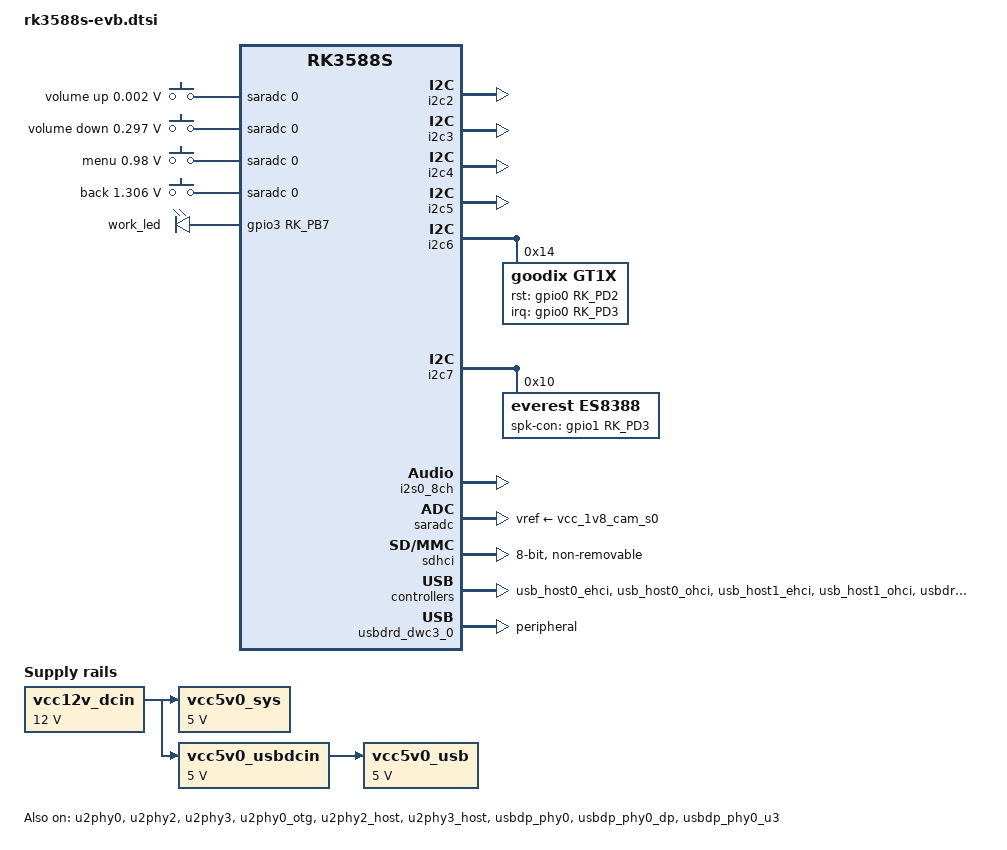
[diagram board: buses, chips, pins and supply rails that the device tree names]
// SPDX-License-Identifier: (GPL-2.0+ OR MIT)
/*
 * Copyright (c) 2021 Rockchip Electronics Co., Ltd.
 *
 */

#include <dt-bindings/gpio/gpio.h>
#include <dt-bindings/pwm/pwm.h>
#include <dt-bindings/pinctrl/rockchip.h>
#include <dt-bindings/input/rk-input.h>
#include <dt-bindings/display/drm_mipi_dsi.h>
#include <dt-bindings/sensor-dev.h>

/ {
	adc_keys: adc-keys {
		compatible = "adc-keys";
		io-channels = <&saradc 0>;
		io-channel-names = "buttons";
		keyup-threshold-microvolt = <1800000>;
		poll-interval = <100>;

		vol-up-key {
			label = "volume up";
			linux,code = <KEY_VOLUMEUP>;
			press-threshold-microvolt = <1750>;
		};

		vol-down-key {
			label = "volume down";
			linux,code = <KEY_VOLUMEDOWN>;
			press-threshold-microvolt = <297500>;
		};

		menu-key {
			label = "menu";
			linux,code = <KEY_MENU>;
			press-threshold-microvolt = <980000>;
		};

		back-key {
			label = "back";
			linux,code = <KEY_BACK>;
			press-threshold-microvolt = <1305500>;
		};
	};

	leds: leds {
		compatible = "gpio-leds";
		work_led: work {
			gpios = <&gpio3 RK_PB7 GPIO_ACTIVE_HIGH>;
			linux,default-trigger = "heartbeat";
		};
	};

	test-power {
		status = "okay";
	};

	rk_headset {
		status = "disabled";
		compatible = "rockchip_headset";
		headset_gpio = <&gpio1 RK_PD5 GPIO_ACTIVE_LOW>;
		pinctrl-names = "default";
		pinctrl-0 = <&hp_det>;
		io-channels = <&saradc 3>;
	};

	es8388_sound: es8388-sound {
		status = "okay";
		simple-audio-card,format = "i2s";
		simple-audio-card,name = "rockchip,es8388-codec";
		simple-audio-card,dai-link@0 {
			format = "i2s";
			cpu {
				sound-dai = <&i2s0_8ch>;
			};
			codec {
				sound-dai = <&es8388>;
			};
		};
	};

	vcc12v_dcin: vcc12v-dcin {
		compatible = "regulator-fixed";
		regulator-name = "vcc12v_dcin";
		regulator-always-on;
		regulator-boot-on;
		regulator-min-microvolt = <12000000>;
		regulator-max-microvolt = <12000000>;
	};

	vcc5v0_sys: vcc5v0-sys {
		compatible = "regulator-fixed";
		regulator-name = "vcc5v0_sys";
		regulator-always-on;
		regulator-boot-on;
		regulator-min-microvolt = <5000000>;
		regulator-max-microvolt = <5000000>;
		vin-supply = <&vcc12v_dcin>;
	};

	vcc5v0_usbdcin: vcc5v0-usbdcin {
		compatible = "regulator-fixed";
		regulator-name = "vcc5v0_usbdcin";
		regulator-always-on;
		regulator-boot-on;
		regulator-min-microvolt = <5000000>;
		regulator-max-microvolt = <5000000>;
		vin-supply = <&vcc12v_dcin>;
	};

	vcc5v0_usb: vcc5v0-usb {
		compatible = "regulator-fixed";
		regulator-name = "vcc5v0_usb";
		regulator-always-on;
		regulator-boot-on;
		regulator-min-microvolt = <5000000>;
		regulator-max-microvolt = <5000000>;
		vin-supply = <&vcc5v0_usbdcin>;
	};
};

&i2c2 {
	status = "okay";
};

&i2c3 {
	status = "okay";
};

&i2c4 {
	status = "okay";
	pinctrl-names = "default";
	pinctrl-0 = <&i2c4m3_xfer>;
};

&i2c5 {
	status = "okay";
};

&i2c6 {
	status = "okay";
	gt1x: gt1x@14 {
		compatible = "goodix,gt1x";
		reg = <0x14>;
		pinctrl-names = "default";
		pinctrl-0 = <&touch_gpio>;
		goodix,rst-gpio = <&gpio0 RK_PD2 GPIO_ACTIVE_HIGH>;
		goodix,irq-gpio = <&gpio0 RK_PD3 IRQ_TYPE_LEVEL_LOW>;
	};
};

&i2c7 {
	status = "okay";
	es8388: es8388@10 {
		status = "okay";
		#sound-dai-cells = <0>;
		compatible = "everest,es8388";
		reg = <0x10>;
		clocks = <&cru I2S0_8CH_MCLKOUT>;
		clock-names = "mclk";
		pinctrl-names = "default";
		pinctrl-0 = <&i2s0_mclk>;
		spk-con-gpio = <&gpio1 RK_PD3 GPIO_ACTIVE_HIGH>;
	};
};

&i2s0_8ch {
	status = "okay";
	pinctrl-0 = <&i2s0_lrck_tx
		     &i2s0_sclk_tx
		     &i2s0_sdi0
		     &i2s0_sdo0>;
};

&pinctrl {
	headphone {
		hp_det: hp-det {
			rockchip,pins = <1 RK_PD5 RK_FUNC_GPIO &pcfg_pull_down>;
		};
	};

	touch {
		touch_gpio: touch-gpio {
			rockchip,pins =
				<0 RK_PD2 RK_FUNC_GPIO &pcfg_pull_up>,
				<0 RK_PD3 RK_FUNC_GPIO &pcfg_pull_none>;
		};
	};
};

&saradc {
	status = "okay";
	vref-supply = <&vcc_1v8_cam_s0>;
};

&sdhci {
	bus-width = <8>;
	no-sdio;
	no-sd;
	non-removable;
	max-frequency = <200000000>;
	status = "okay";
};

&sdmmc {
	max-frequency = <150000000>;
	no-sdio;
	no-mmc;
	bus-width = <4>;
	cap-mmc-highspeed;
	cap-sd-highspeed;
	disable-wp;
	sd-uhs-sdr104;
	vmmc-supply = <&vcc_3v3_sd_s0>;
	vqmmc-supply = <&vccio_sd_s0>;
	status = "disabled";
};

&u2phy0 {
	status = "okay";
};

&u2phy2 {
	status = "okay";
};

&u2phy3 {
	status = "okay";
};

&u2phy0_otg {
	status = "okay";
};

&u2phy2_host {
	status = "okay";
};

&u2phy3_host {
	status = "okay";
};

&usb_host0_ehci {
	status = "okay";
};

&usb_host0_ohci {
	status = "okay";
};

&usb_host1_ehci {
	status = "okay";
};

&usb_host1_ohci {
	status = "okay";
};

&usbdp_phy0 {
	status = "okay";
};

&usbdp_phy0_dp {
	status = "okay";
};

&usbdp_phy0_u3 {
	status = "okay";
};

&usbdrd3_0 {
	status = "okay";
};

&usbdrd_dwc3_0 {
	dr_mode = "peripheral";
	status = "okay";
};

&usbhost3_0 {
	status = "okay";
};

&usbhost_dwc3_0 {
	status = "okay";
};
